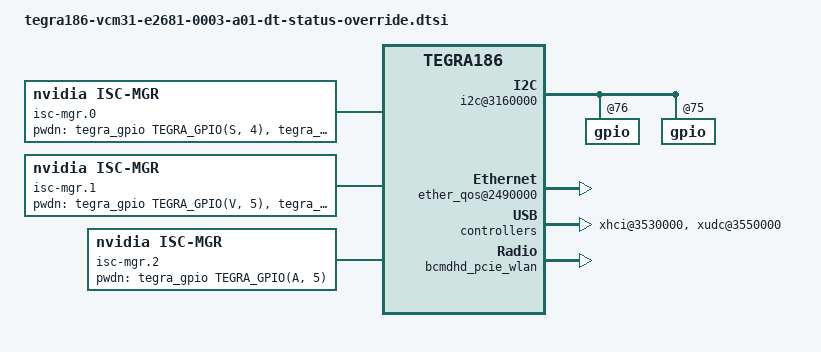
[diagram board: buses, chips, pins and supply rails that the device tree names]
/*
 * tegra186-vcm31-e2681-0003-a01-dt-status-override.dtsi:
 *
 * Copyright (c) 2016, NVIDIA CORPORATION.  All rights reserved.
 *
 * This program is free software; you can redistribute it and/or modify
 * it under the terms of the GNU General Public License as published by
 * the Free Software Foundation; version 2 of the License.
 *
 * This program is distributed in the hope that it will be useful, but WITHOUT
 * ANY WARRANTY; without even the implied warranty of MERCHANTABILITY or
 * FITNESS FOR A PARTICULAR PURPOSE.  See the GNU General Public License for
 * more details.
 */

/ {
	ufshci@2450000 {
		status = "disabled";
	};

	i2c@3160000 {
		gpio@76 {
			xusb_lane0_mux {
				status = "disabled";
			};

			pcie1_lane0_mux {
				status = "disabled";
			};

			xusb_lane1_mux {
				status = "disabled";
			};

			pcie0_lane1_mux {
				status = "disabled";
			};

			xusb_lane2_mux {
				status = "disabled";
			};

			pcie0_lane2_mux {
				status = "disabled";
			};

			pcie2_lane3_mux {
				status = "disabled";
			};

			pcie0_lane3_mux {
				status = "disabled";
			};

			ufs_lane4_mux {
				status = "disabled";
			};

			pcie0_lane4_mux {
				status = "disabled";
			};

			ufs_lane5_mux {
				status = "disabled";
			};

			sata_lane5_mux {
				status = "disabled";
			};
		};

		gpio@75 {

			xusb_lane0_mux {
				status = "disabled";
			};

			pcie1_lane0_mux {
				status = "disabled";
			};

			xusb_lane1_mux {
				status = "disabled";
			};

			pcie0_lane1_mux {
				status = "disabled";
			};

			xusb_lane2_mux {
				status = "disabled";
			};

			pcie0_lane2_mux {
				status = "disabled";
			};

			pcie2_lane3_mux {
				status = "disabled";
			};

			pcie0_lane3_mux {
				status = "disabled";
			};

			ufs_lane4_mux {
				status = "disabled";
			};

			pcie0_lane4_mux {
				status = "disabled";
			};

			ufs_lane5_mux {
				status = "disabled";
			};

			sata_lane5_mux {
				status = "disabled";
			};
		};
	};

	i2c@31c0000 {
		status = "disabled";
	};

	i2c@31e0000 {
		status = "disabled";
	};

	pwm@3280000 {
		status = "disabled";
	};

	pwm@3290000 {
		status = "disabled";
	};

	pwm@32a0000 {
		status = "disabled";
	};

	pwm@c340000 {
		status = "disabled";
	};

	pwm@32c0000 {
		status = "disabled";
	};

	pwm@32d0000 {
		status = "disabled";
	};

	pwm@32e0000 {
		status = "disabled";
	};

	pwm@32f0000 {
		status = "disabled";
	};



	serial@c290000 {
		status = "disabled";
	};

	ether_qos@2490000 {
		status = "okay";
	};

	ether_qos_virt_test@2490000 {
		status = "disabled";
	};

	mc-clk-pd {
		status = "disabled";
	};

	ape-pd {
		status = "disabled";
	};

	host-pd {
		status = "disabled";
	};

	tsec-pd {
		status = "disabled";
	};

	nvdec-pd {
		status = "disabled";
	};

	ispa-pd {
		status = "disabled";
	};

	ve-pd {
		status = "disabled";
	};

	vic03-pd {
		status = "disabled";
	};

	msenc-pd {
		status = "disabled";
	};

	nvjpg-pd {
		status = "disabled";
	};

	gpu-pd {
		status = "disabled";
	};

	pcie-pd {
		status = "disabled";
	};

	sata-pd {
		status = "disabled";
	};

	disa-pd {
		status = "disabled";
	};

	disb-pd {
		status = "disabled";
	};

	disc-pd {
		status = "disabled";
	};

	xusba-pd {
		status = "disabled";
	};

	xusbb-pd {
		status = "disabled";
	};

	xusbc-pd {
		status = "disabled";
	};


	usb_cd@7009f000 {
		status = "disabled";
	};

	mailbox@3538000 {
		status = "okay";
	};

	xhci@3530000 {
		status = "okay";
	};

	xudc@3550000 {
		status = "okay";
	};

	pinctrl@3520000 {
		status = "okay";
	};

	tachometer@39c0000 {
		status = "disabled";
	};

	pmc-iopower {
		status = "disabled";
	};


	interrupt-controller@3000000 {
		status = "disabled";
	};

	tegra-hsp@3c00000 {
		status = "disabled";
	};

	chipid@100000 {
		status = "disabled";
	};

	bpmp {
		status = "okay";

		bpmpthermal {
			status = "disabled";
		};
	};

	watchdog@30c0000 {
		status = "disabled";
	};

	watchdog@30c0000 {
		status = "disabled";
	};

	roc-flush@e080000 {
		status = "disabled";
	};

	cpuidle {
		status = "disabled";
	};

        efuse@3820000 {
                status = "disabled";
        };

	rtc@c2a0000 {
		status = "disabled";
	};

	cpus {
		status = "disabled";

		a57_core_power_states {

			c1 {
				status = "disabled";
			};

			c7 {
				status = "disabled";
			};
		};

		a57_cluster_power_states {

			cc1 {
				status = "disabled";
			};

			cc6 {
				status = "disabled";
			};

			cc7 {
				status = "disabled";
			};
		};

		denver_core_power_states {

			c1 {
				status = "disabled";
			};

			c6 {
				status = "disabled";
			};

			c7 {
				status = "disabled";
			};
		};

		denver_cluster_power_states {

			cc1 {
				status = "disabled";
			};

			cc6 {
				status = "disabled";
			};

			cc7 {
				status = "disabled";
			};
		};
	};

	backlight {

		panel-a-edp-1080p-14-0-bl {
			status = "disabled";
		};

		panel-s-wuxga-8-0-bl {
			status = "disabled";
		};

		panel-s-edp-uhdtv-15-6-bl {
			status = "disabled";
		};
	};

	hyp {
		status = "disabled";
	};

	external-connection {
		status = "okay";
	};

	dummy-cool-dev {
		status = "disabled";
	};

	thermal-zones {
		status = "disabled";

		Tboard_tegra {
			status = "disabled";

			thermal-zone-params {
			};
		};

		Tdiode_tegra {
			status = "disabled";

			thermal-zone-params {
			};
		};
	};

	gpio-keys {
		status = "disabled";
	};

	bluedroid_pm {
		status = "okay";
	};

	bcmdhd_pcie_wlan {
		status = "okay";
	};

	sound {
		status = "disabled";
	};

	aon@c160000 {
		status = "disabled";
	};

	isc-mgr.0 {
		compatible = "nvidia,isc-mgr";
		i2c-bus = <7>;
		csi-port = <0>;
		pwdn-gpios = < &tegra_gpio TEGRA_GPIO(S, 4) GPIO_ACTIVE_HIGH	/* GMSL_IN1_PDN */
			&tegra_gpio TEGRA_GPIO(I, 4) GPIO_ACTIVE_HIGH		/* CSI1_TV_EN1 */
			&tegra_gpio TEGRA_GPIO(I, 5) GPIO_ACTIVE_HIGH		/* CSI1_TV_EN2 */
			&tegra_gpio TEGRA_GPIO(I, 6) GPIO_ACTIVE_HIGH		/* CSI1_TV_EN3 */
			&tegra_gpio TEGRA_GPIO(I, 7) GPIO_ACTIVE_HIGH		/* CSI1_TV_EN4 */>;
		status = "okay";
	};

	isc-mgr.1 {
		compatible = "nvidia,isc-mgr";
		i2c-bus = <2>;
		csi-port = <2>;
		pwdn-gpios = < &tegra_gpio TEGRA_GPIO(V, 5) GPIO_ACTIVE_HIGH	/* GMSL_IN2_PDN */
			&tegra_gpio TEGRA_GPIO(B, 4) GPIO_ACTIVE_HIGH		/* CSI2_TV_EN3 */
			&tegra_gpio TEGRA_GPIO(B, 5) GPIO_ACTIVE_HIGH		/* CSI2_TV_EN4 */>;
		status = "okay";
	};

	isc-mgr.2 {
		compatible = "nvidia,isc-mgr";
		i2c-bus = <2>;
		csi-port = <4>;
		pwdn-gpios = < &tegra_gpio TEGRA_GPIO(A, 5) GPIO_ACTIVE_HIGH >;
		default-power-on;
		status = "okay";
	};
};
